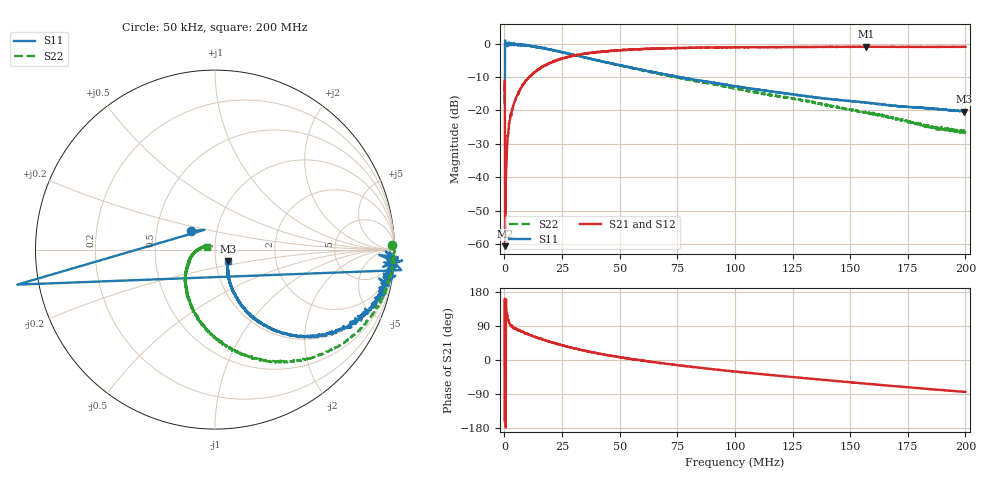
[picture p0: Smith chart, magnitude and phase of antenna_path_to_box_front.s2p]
! 23-Mar-26 11:58:41 AM
! E:\UPDATEDVNAMEASUREMENTS\ANT_PATH\ANTENNA_PATH_TO_BOX_FRONT.S2P
! CHANNEL.1
! TR.MEASUREMENT
! CORRECTED.DATA
# GHZ S RI R 50.0
! FREQ.GHZ  S11RE  S11IM  S21RE  S21IM  S12RE  S12IM  S22RE  S22IM
!; PortSelection: Port_12
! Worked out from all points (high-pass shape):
!   2000 points, 50 kHz to 200 MHz, reference 50 ohm
!   highest |S21| = -0.88 dB at 156.9 MHz (marker M1); lowest = -60.7 dB at 250 kHz (marker M2)
!   |S21| within 3 dB of the highest: 27.73085 MHz to 27.76879 MHz (37.94 kHz wide, 0.137 % of centre); 28.35 MHz to end of sweep
!   lowest |S11| = -20.4 dB at 199.4 MHz (marker M3), VSWR 1.21, Z = 57.2 - j7.35 ohm
!   |S11| at or under -10 dB: start of sweep to 192.5 kHz; 75.84 MHz to end of sweep
!   |S22| runs from -26.9 to 0.1 dB; largest |S21 - S12| = 0.28
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5e-05  -0.132 0.103  -0.1852 -0.0685  0.000204 0.0085  0.9866 0.0231
0.00025005  -1.102 -0.1951  4.89e-05 -0.000923  0.000727 0.00112  1.004 -0.00917
0.0008502  0.9742 -0.0835  -0.00824 0.0134  -0.00169 0.0236  1.006 -0.0313
0.0012503  0.9149 -0.0297  -0.0152 0.0275  -0.00183 0.0348  1.002 -0.063
0.001350325  1.008 -0.0713  -0.0132 0.0404  -0.00263 0.0384  0.9902 -0.0678
0.0016504  0.9762 -0.0342  -0.0132 0.042  -0.00317 0.0465  0.9868 -0.0709
0.0020505  0.9887 -0.0781  -0.00848 0.0626  -0.00228 0.0604  0.9877 -0.1066
0.002950725  0.9425 -0.0708  -0.00173 0.0835  0.00134 0.0878  0.981 -0.1319
0.004851201  0.9405 -0.1568  0.0186 0.145  0.0197 0.1447  0.954 -0.2116
0.007751926  0.9509 -0.2435  0.0641 0.2332  0.0653 0.2273  0.8965 -0.3254
0.01315328  0.8302 -0.3656  0.1834 0.3317  0.1825 0.3328  0.7601 -0.4894
0.01955488  0.6758 -0.4482  0.339 0.3782  0.3375 0.3857  0.5633 -0.5964
0.03345835  0.4276 -0.4767  0.6312 0.3064  0.62 0.3088  0.2052 -0.6069
0.04726181  0.2686 -0.4196  0.7765 0.136  0.7738 0.141  0.005 -0.4938
0.06676668  0.1606 -0.3252  0.8358 -0.1031  0.8423 -0.1011  -0.1253 -0.3351
0.100075  0.0914 -0.2114  0.7588 -0.4478  0.7617 -0.4501  -0.1652 -0.1367
0.1333833  0.0733 -0.1411  0.5799 -0.6819  0.5841 -0.6836  -0.1293 -0.0329
0.1568892  0.0709 -0.1092  0.4196 -0.8002  0.417 -0.7962  -0.0902 -0.00241
0.1666917  0.0697 -0.0971  0.3383 -0.8265  0.3418 -0.8305  -0.0789 0.0111
0.184196  0.0736 -0.0796  0.207 -0.8756  0.2045 -0.8692  -0.0572 0.0165
0.1993998  0.0713 -0.0637  0.0911 -0.895  0.1006 -0.8942  -0.0439 0.0156
0.2  0.0732 -0.0646  0.0897 -0.894  0.0899 -0.8912  -0.0454 0.0164
